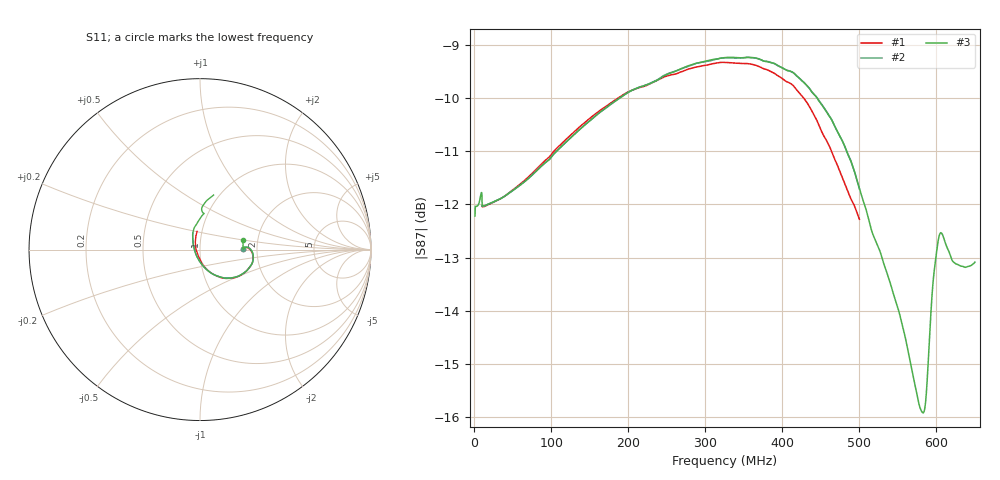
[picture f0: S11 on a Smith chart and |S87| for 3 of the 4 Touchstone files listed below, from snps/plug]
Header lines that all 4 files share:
!Agilent Technologies,M9370A,MY54322275,A.02.50.04
!Agilent M9370A: A.02.50.04
!Correction: S11(Full 8 Port(1,2,3,4,5,6,7,8))
!S12(Full 8 Port(1,2,3,4,5,6,7,8))
!S13(Full 8 Port(1,2,3,4,5,6,7,8))
!S14(Full 8 Port(1,2,3,4,5,6,7,8))
!S15(Full 8 Port(1,2,3,4,5,6,7,8))
!S16(Full 8 Port(1,2,3,4,5,6,7,8))
!S17(Full 8 Port(1,2,3,4,5,6,7,8))
!S18(Full 8 Port(1,2,3,4,5,6,7,8))
!S21(Full 8 Port(1,2,3,4,5,6,7,8))
!S22(Full 8 Port(1,2,3,4,5,6,7,8))
!S23(Full 8 Port(1,2,3,4,5,6,7,8))
!S24(Full 8 Port(1,2,3,4,5,6,7,8))
!S25(Full 8 Port(1,2,3,4,5,6,7,8))
!S26(Full 8 Port(1,2,3,4,5,6,7,8))
!S27(Full 8 Port(1,2,3,4,5,6,7,8))
!S28(Full 8 Port(1,2,3,4,5,6,7,8))
!S31(Full 8 Port(1,2,3,4,5,6,7,8))
!S32(Full 8 Port(1,2,3,4,5,6,7,8))
!S33(Full 8 Port(1,2,3,4,5,6,7,8))
!S34(Full 8 Port(1,2,3,4,5,6,7,8))
!S35(Full 8 Port(1,2,3,4,5,6,7,8))
!S36(Full 8 Port(1,2,3,4,5,6,7,8))
!S37(Full 8 Port(1,2,3,4,5,6,7,8))
!S38(Full 8 Port(1,2,3,4,5,6,7,8))
!S41(Full 8 Port(1,2,3,4,5,6,7,8))
!S42(Full 8 Port(1,2,3,4,5,6,7,8))
!S43(Full 8 Port(1,2,3,4,5,6,7,8))
# Hz S  RI  R 50
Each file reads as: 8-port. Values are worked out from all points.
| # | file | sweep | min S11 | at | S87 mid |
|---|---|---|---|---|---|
| 1 | plug2.s8p | 10 MHz to 500 MHz | -33.3 dB | 442.6 MHz | -9.6 dB at 255.2 MHz |
| 2 | plug3.s8p | 10 MHz to 500 MHz | -30.1 dB | 449.5 MHz | -9.5 dB at 255.2 MHz |
| 3 | plug4.s8p | 1 MHz to 650 MHz | -30.0 dB | 450 MHz | -9.2 dB at 325.5 MHz |
| 4 | plug5.s8p | 1 MHz to 650 MHz | -30.0 dB | 450 MHz | -9.2 dB at 325.5 MHz |
